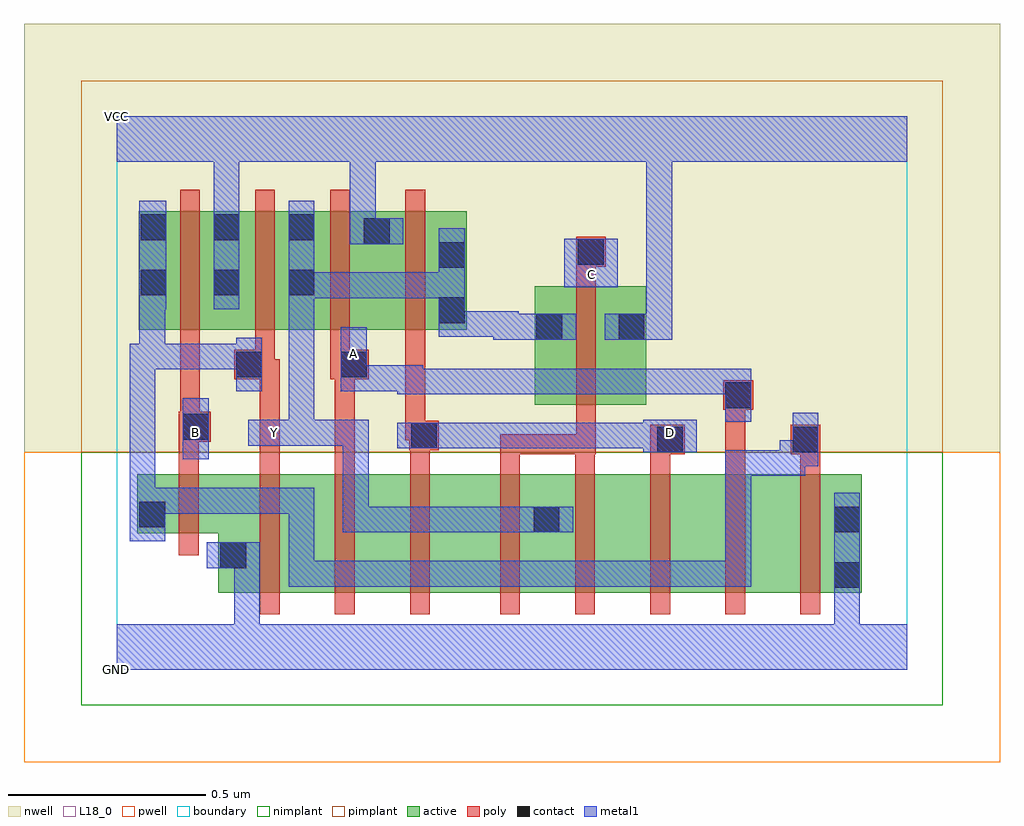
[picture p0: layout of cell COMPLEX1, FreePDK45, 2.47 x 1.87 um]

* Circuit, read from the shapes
.subckt COMPLEX1 A B C D GND VCC Y
M1 GND B n1 VSUBS nfet w=0.15u l=0.05u
M2 n2 n1 GND VSUBS nfet w=0.3u l=0.05u
M3 n3 A n2 VSUBS nfet w=0.3u l=0.05u
M4 n4 D n3 VSUBS nfet w=0.3u l=0.05u
M5 Y C n4 VSUBS nfet w=0.3u l=0.05u
M6 n5 C Y VSUBS nfet w=0.3u l=0.05u
M7 n6 D n5 VSUBS nfet w=0.3u l=0.05u
M8 n7 A n6 VSUBS nfet w=0.3u l=0.05u
M9 GND n1 n7 VSUBS nfet w=0.3u l=0.05u
M10 VCC B n1 n8 pfet w=0.3u l=0.05u
M11 Y n1 VCC n8 pfet w=0.3u l=0.05u
M12 VCC A Y n8 pfet w=0.3u l=0.05u
M13 Y D VCC n8 pfet w=0.3u l=0.05u
M14 VCC C Y n8 pfet w=0.3u l=0.05u
.ends

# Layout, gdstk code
import gdstk
lib = gdstk.Library(unit=1e-6, precision=1e-09)
def R(c, l, rs):  # rectangles x0, y0, x1, y1
    for r in rs: c.add(gdstk.rectangle(r[:2], r[2:], *l))
def A(c, l, x, y, w, h, nx, ny, dx, dy):  # array of equal rectangles
    R(c, l, [(x+i*dx, y+j*dy, x+i*dx+w, y+j*dy+h) for i in range(nx) for j in range(ny)])
active = (1, 0)
pwell = (2, 0)
nwell = (3, 0)
nimplant = (4, 0)
pimplant = (5, 0)
poly = (9, 0)
contact = (10, 0)
metal1 = (11, 0)
L18_0 = (18, 0)
boundary = (235, 0)

complex1 = lib.new_cell('COMPLEX1')
A(complex1, active, 0.24, 0.86, 0.265, 0.3, 3, 1, 0.19, 0)
R(complex1, active, [(0.257,0.195,0.482,0.495), (0.257,0.195,0.332,0.345), (0.482,0.195,0.672,0.495), (0.672,0.195,0.862,0.495), (0.862,0.195,1.125,0.495), (1.05,0.195,1.28,0.495), (1.05,0.195,1.125,0.417), (1.28,0.195,1.47,0.495), (1.47,0.195,1.66,0.495), (1.66,0.195,1.885,0.495), (1.81,0.195,1.885,0.495), (0.052,0.345,0.127,0.495), (0.052,0.345,0.332,0.495), (1.057,0.67,1.34,0.97), (1.057,0.72,1.132,0.97), (1.265,0.72,1.34,0.97), (0.055,0.86,0.13,1.16), (0.055,0.86,0.315,1.16), (0.24,0.86,0.315,1.16), (0.43,0.86,0.505,1.16), (0.62,0.86,0.695,1.147), (0.81,0.86,0.885,1.16)])
R(complex1, pwell, [(-0.235,-0.235,2.235,0.55)])
R(complex1, nwell, [(-0.235,0.55,2.235,1.635)])
R(complex1, nimplant, [(-0.09,-0.09,2.09,0.55)])
R(complex1, pimplant, [(-0.09,0.55,2.09,1.49)])
A(complex1, poly, 0.362, 0.14, 0.05, 0.41, 3, 1, 0.19, 0)
A(complex1, poly, 0.97, 0.14, 0.05, 0.41, 5, 1, 0.19, 0)
A(complex1, poly, 0.97, 0.5, 0.05, 0.095, 3, 1, 0.19, 0)
A(complex1, poly, 0.16, 0.805, 0.05, 0.41, 4, 1, 0.19, 0)
R(complex1, poly, [(0.157,0.29,0.207,0.55), (0.157,0.5,0.207,0.627), (0.362,0.5,0.412,0.785), (0.552,0.5,0.602,0.785), (0.742,0.5,0.792,0.605), (1.54,0.5,1.59,0.707), (1.73,0.5,1.78,0.595), (0.97,0.545,1.02,0.595), (0.97,0.545,1.02,0.595), (0.97,0.545,1.02,0.595), (0.97,0.545,1.21,0.595), (1.16,0.545,1.212,0.595), (1.162,0.545,1.212,0.595), (1.162,0.545,1.212,0.595), (1.162,0.545,1.212,0.665), (1.35,0.545,1.437,0.62), (1.705,0.545,1.78,0.62), (0.74,0.555,0.815,0.63), (0.157,0.577,0.237,0.652), (0.73,0.58,0.78,0.855), (0.73,0.58,0.79,0.63), (0.74,0.58,0.79,0.63), (0.16,0.602,0.21,0.652), (0.16,0.602,0.21,0.652), (0.16,0.602,0.21,0.855), (1.162,0.615,1.212,1.025), (1.535,0.657,1.61,0.732), (1.54,0.657,1.59,0.707), (1.54,0.657,1.59,0.707), (0.297,0.735,0.4,0.81), (0.35,0.735,0.4,0.785), (0.35,0.735,0.412,0.785), (0.54,0.735,0.637,0.81), (0.552,0.735,0.602,0.785), (0.552,0.735,0.602,0.785), (0.35,0.76,0.4,0.855), (0.54,0.76,0.59,0.855), (1.162,0.975,1.212,1.07), (1.162,1.02,1.237,1.095)])
R(complex1, contact, [(1.815,0.207,1.88,0.272), (0.262,0.257,0.327,0.322), (1.055,0.347,1.12,0.412), (1.815,0.347,1.88,0.412), (0.057,0.36,0.122,0.425), (1.367,0.55,1.432,0.615), (1.71,0.55,1.775,0.615), (0.745,0.56,0.81,0.625), (0.167,0.582,0.232,0.647), (1.54,0.662,1.605,0.727), (0.302,0.74,0.367,0.805), (0.567,0.74,0.632,0.805), (1.062,0.835,1.127,0.9), (1.27,0.835,1.335,0.9), (0.815,0.877,0.88,0.942), (0.06,0.947,0.125,1.012), (0.245,0.947,0.31,1.012), (0.435,0.947,0.5,1.012), (0.815,1.017,0.88,1.082), (1.167,1.025,1.232,1.09), (0.625,1.077,0.69,1.142), (0.06,1.087,0.125,1.152), (0.245,1.087,0.31,1.152), (0.435,1.087,0.5,1.152)])
R(complex1, metal1, [(0,0,2,0.115), (0.297,0.05,0.362,0.322), (1.815,0.05,1.88,0.237), (1.815,0.172,1.88,0.447), (0.435,0.21,0.637,0.275), (0.435,0.21,0.5,0.275), (0.435,0.21,0.5,0.46), (0.572,0.21,0.637,0.275), (0.572,0.21,0.637,0.275), (0.572,0.21,0.637,0.275), (0.572,0.21,0.88,0.275), (0.815,0.21,1.017,0.275), (0.815,0.21,0.88,0.275), (0.815,0.21,0.88,0.275), (0.815,0.21,0.88,0.275), (0.952,0.21,1.017,0.275), (0.952,0.21,1.017,0.275), (0.952,0.21,1.017,0.275), (0.952,0.21,1.155,0.275), (1.09,0.21,1.155,0.275), (1.09,0.21,1.467,0.275), (1.402,0.21,1.467,0.275), (1.402,0.21,1.467,0.275), (1.402,0.21,1.467,0.275), (1.402,0.21,1.467,0.275), (1.402,0.21,1.467,0.275), (1.402,0.21,1.605,0.275), (1.54,0.21,1.605,0.275), (1.54,0.21,1.605,0.555), (0.227,0.257,0.362,0.322), (0.032,0.325,0.122,0.46), (0.572,0.347,0.637,0.412), (0.572,0.347,0.88,0.412), (0.572,0.347,0.637,0.632), (0.815,0.347,1.017,0.412), (0.815,0.347,0.88,0.412), (0.815,0.347,0.88,0.412), (0.815,0.347,0.88,0.412), (0.952,0.347,1.017,0.412), (0.952,0.347,1.085,0.412), (1.02,0.347,1.155,0.412), (0.032,0.395,0.097,0.46), (0.032,0.395,0.097,0.46), (0.032,0.395,0.097,0.825), (0.057,0.395,0.122,0.46), (0.057,0.395,0.122,0.46), (0.057,0.395,0.26,0.46), (0.195,0.395,0.26,0.46), (0.195,0.395,0.495,0.46), (0.43,0.395,0.495,0.46), (0.43,0.395,0.495,0.46), (0.43,0.395,0.5,0.46), (1.54,0.49,1.742,0.555), (1.54,0.49,1.605,0.555), (1.54,0.49,1.605,0.555), (1.54,0.49,1.605,0.555), (1.677,0.49,1.742,0.58), (1.677,0.515,1.775,0.58), (1.71,0.515,1.775,0.65), (0.167,0.532,0.232,0.687), (1.332,0.55,1.467,0.632), (0.71,0.56,0.845,0.625), (0.78,0.56,0.845,0.625), (0.78,0.56,0.845,0.625), (0.78,0.56,1.017,0.625), (0.952,0.56,1.017,0.625), (0.952,0.56,1.017,0.625), (0.952,0.56,1.017,0.625), (0.952,0.56,1.26,0.625), (1.195,0.56,1.397,0.625), (1.195,0.56,1.26,0.625), (1.332,0.56,1.397,0.625), (1.332,0.56,1.397,0.625), (0.332,0.567,0.5,0.632), (0.435,0.567,0.637,0.632), (0.435,0.567,0.5,0.632), (0.435,0.567,0.5,0.632), (0.435,0.567,0.5,0.977), (0.572,0.567,0.637,0.632), (0.572,0.567,0.637,0.632), (0.572,0.567,0.637,0.632), (1.54,0.627,1.605,0.762), (0.71,0.697,0.775,0.762), (0.71,0.697,0.775,0.762), (0.71,0.697,1.017,0.762), (0.71,0.697,0.775,0.77), (0.952,0.697,1.017,0.762), (0.952,0.697,1.017,0.762), (0.952,0.697,1.017,0.762), (0.952,0.697,1.155,0.762), (1.09,0.697,1.155,0.762), (1.09,0.697,1.155,0.762), (1.09,0.697,1.155,0.762), (1.09,0.697,1.405,0.762), (1.34,0.697,1.405,0.762), (1.34,0.697,1.605,0.762), (1.54,0.697,1.605,0.762), (1.54,0.697,1.605,0.762), (0.302,0.705,0.367,0.84), (0.567,0.705,0.637,0.77), (0.567,0.705,0.632,0.867), (0.572,0.705,0.637,0.77), (0.572,0.705,0.775,0.77), (0.032,0.76,0.122,0.825), (0.057,0.76,0.122,0.825), (0.057,0.76,0.122,0.825), (0.057,0.76,0.26,0.825), (0.057,0.76,0.122,0.977), (0.195,0.76,0.26,0.825), (0.195,0.76,0.367,0.825), (0.952,0.835,1.092,0.9), (0.952,0.835,1.017,0.907), (1.027,0.835,1.162,0.9), (1.235,0.835,1.405,0.9), (1.34,0.835,1.405,0.9), (1.34,0.835,1.405,0.9), (1.34,0.835,1.405,1.35), (0.815,0.842,0.88,1.117), (0.815,0.842,1.017,0.907), (0.057,0.912,0.125,1.187), (0.245,0.912,0.31,1.187), (0.435,0.912,0.5,1.187), (0.435,0.94,0.637,1.005), (0.572,0.94,0.637,1.005), (0.572,0.94,0.637,1.005), (0.572,0.94,0.637,1.005), (0.572,0.94,0.88,1.005), (0.815,0.94,0.88,1.005), (0.815,0.94,0.88,1.005), (1.132,0.967,1.267,1.09), (0.59,1.077,0.725,1.142), (0.59,1.077,0.655,1.35), (0.245,1.122,0.31,1.187), (0.245,1.122,0.31,1.187), (0.245,1.122,0.31,1.35), (0,1.285,2,1.4), (0.245,1.285,0.31,1.35), (0.245,1.285,0.31,1.35), (0.245,1.285,0.31,1.35), (0.245,1.285,0.31,1.35), (0.59,1.285,0.655,1.35), (0.59,1.285,0.655,1.35), (0.59,1.285,0.655,1.35), (0.59,1.285,0.655,1.35), (0.59,1.285,0.655,1.35), (0.59,1.285,0.655,1.35), (1.34,1.285,1.405,1.35), (1.34,1.285,1.405,1.35), (1.34,1.285,1.405,1.35), (1.34,1.285,1.405,1.35)])
R(complex1, L18_0, [(0,0,2,0.115), (0.297,0.05,0.362,0.322), (1.815,0.05,1.88,0.237), (1.815,0.172,1.88,0.447), (0.227,0.257,0.362,0.322), (0.572,0.347,0.637,0.412), (0.572,0.347,0.637,0.632), (0.572,0.347,0.88,0.412), (0.815,0.347,0.88,0.412), (0.815,0.347,0.88,0.412), (0.815,0.347,0.88,0.412), (0.815,0.347,1.017,0.412), (0.952,0.347,1.017,0.412), (0.952,0.347,1.085,0.412), (1.02,0.347,1.155,0.412), (0.167,0.532,0.232,0.687), (1.332,0.55,1.467,0.632), (0.71,0.56,0.845,0.625), (0.78,0.56,0.845,0.625), (0.78,0.56,0.845,0.625), (0.78,0.56,1.017,0.625), (0.952,0.56,1.017,0.625), (0.952,0.56,1.017,0.625), (0.952,0.56,1.017,0.625), (0.952,0.56,1.26,0.625), (1.195,0.56,1.26,0.625), (1.195,0.56,1.397,0.625), (1.332,0.56,1.397,0.625), (1.332,0.56,1.397,0.625), (0.167,0.567,0.232,0.632), (0.332,0.567,0.5,0.632), (0.367,0.567,0.432,0.632), (0.435,0.567,0.5,0.632), (0.435,0.567,0.5,0.632), (0.435,0.567,0.5,0.977), (0.435,0.567,0.637,0.632), (0.572,0.567,0.637,0.632), (0.572,0.567,0.637,0.632), (0.572,0.567,0.637,0.632), (1.367,0.567,1.432,0.632), (1.54,0.627,1.605,0.762), (0.71,0.697,0.775,0.762), (0.71,0.697,0.775,0.762), (0.71,0.697,0.775,0.77), (0.71,0.697,1.017,0.762), (0.952,0.697,1.017,0.762), (0.952,0.697,1.017,0.762), (0.952,0.697,1.017,0.762), (0.952,0.697,1.155,0.762), (1.09,0.697,1.155,0.762), (1.09,0.697,1.155,0.762), (1.09,0.697,1.155,0.762), (1.09,0.697,1.405,0.762), (1.34,0.697,1.405,0.762), (1.34,0.697,1.605,0.762), (1.54,0.697,1.605,0.762), (1.54,0.697,1.605,0.762), (0.567,0.705,0.632,0.867), (0.567,0.705,0.637,0.77), (0.572,0.705,0.637,0.77), (0.572,0.705,0.775,0.77), (0.567,0.767,0.632,0.832), (0.952,0.835,1.017,0.907), (0.952,0.835,1.092,0.9), (1.027,0.835,1.162,0.9), (1.235,0.835,1.405,0.9), (1.34,0.835,1.405,0.9), (1.34,0.835,1.405,0.9), (1.34,0.835,1.405,1.35), (0.815,0.842,0.88,1.117), (0.815,0.842,1.017,0.907), (0.245,0.912,0.31,1.187), (0.435,0.912,0.5,1.187), (0.435,0.94,0.637,1.005), (0.572,0.94,0.637,1.005), (0.572,0.94,0.637,1.005), (0.572,0.94,0.637,1.005), (0.572,0.94,0.88,1.005), (0.815,0.94,0.88,1.005), (0.815,0.94,0.88,1.005), (1.132,0.967,1.267,1.09), (1.167,0.967,1.232,1.032), (0.59,1.077,0.725,1.142), (0.59,1.077,0.655,1.35), (0.245,1.122,0.31,1.187), (0.245,1.122,0.31,1.187), (0.245,1.122,0.31,1.35), (0,1.285,2,1.4), (0.245,1.285,0.31,1.35), (0.245,1.285,0.31,1.35), (0.245,1.285,0.31,1.35), (0.245,1.285,0.31,1.35), (0.59,1.285,0.655,1.35), (0.59,1.285,0.655,1.35), (0.59,1.285,0.655,1.35), (0.59,1.285,0.655,1.35), (0.59,1.285,0.655,1.35), (0.59,1.285,0.655,1.35), (1.34,1.285,1.405,1.35), (1.34,1.285,1.405,1.35), (1.34,1.285,1.405,1.35), (1.34,1.285,1.405,1.35)])
R(complex1, boundary, [(0,0,2,1.4)])
complex1.add(gdstk.Label('A', (0.6,0.8), layer=11, texttype=0))
complex1.add(gdstk.Label('B', (0.2,0.6), layer=11, texttype=0))
complex1.add(gdstk.Label('C', (1.2,1), layer=11, texttype=0))
complex1.add(gdstk.Label('D', (1.4,0.6), layer=11, texttype=0))
complex1.add(gdstk.Label('Y', (0.4,0.6), layer=11, texttype=0))
complex1.add(gdstk.Label('VCC', (0,1.4), layer=11, texttype=0))
complex1.add(gdstk.Label('GND', (0,0), layer=11, texttype=0))

lib.write_gds('COMPLEX1.gds')
